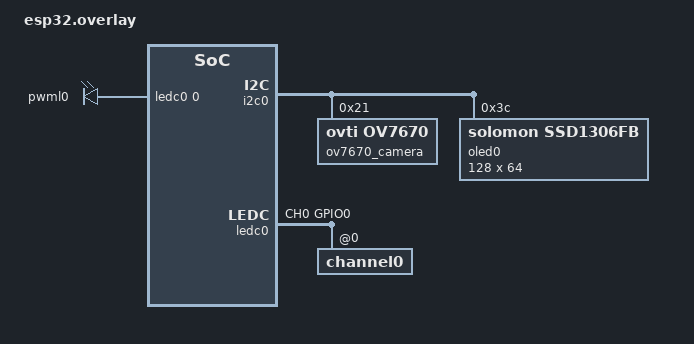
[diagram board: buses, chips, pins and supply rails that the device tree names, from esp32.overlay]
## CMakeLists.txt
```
cmake_minimum_required(VERSION 3.20.0)
set(DTC_OVERLAY_FILE "esp32.overlay")
set(BOARD esp32_devkitc_wroom)
find_package(Zephyr REQUIRED HINTS $ENV{ZEPHYR_BASE})

project(test03)

target_sources(app PRIVATE src/main.c)
```

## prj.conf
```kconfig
CONFIG_LOG=y
CONFIG_VIDEO=y
CONFIG_VIDEO_OV7670=y
CONFIG_SHELL=y
CONFIG_I2C_SHELL=y
CONFIG_I2C=y
CONFIG_GPIO=y
CONFIG_PWM=y
CONFIG_DISPLAY=y
CONFIG_SSD1306=y
CONFIG_SSD1306_DEFAULT_CONTRAST=128
CONFIG_CHARACTER_FRAMEBUFFER=y
```

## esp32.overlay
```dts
&i2c0 {
    ov7670_camera: ov7670_camera@21 {
        compatible= "ovti,ov7670";
        status = "okay";
        reg=<0x21>;
    };  
        oled0: oled0@3c {
        compatible= "solomon,ssd1306fb";
        reg =<0x3c>;
        height=<64>;
        width=<128>;
        segment-offset=<0>;
        page-offset=<0>;
        display-offset=<0>;
        multiplex-ratio=<63>;
        segment-remap;
        com-invdir;
        prechargep= <0x22>;
    };     
};
    &pinctrl {
        pwmc_default: pwmc_default {
                group1 {
                    pinmux = <LEDC_CH0_GPIO0>;
                    output-enable;
                };
        };
    };
    &ledc0 {
        pinctrl-0 = <&pwmc_default>;
        pinctrl-names = "default";
        #address-cells = <1>;
        #size-cells = <0>;
        status = "okay";
        channel0@0 {
            reg = <0x0>;
            timer = <0>;
        };
    };
/
{
    pwmled {
        compatible = "pwm-leds";     
        pwml0: pwml_0 {
            pwms=<&ledc0 0 100 PWM_POLARITY_NORMAL>;
        };
    };
};
```

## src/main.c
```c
#include <zephyr/kernel.h>
#include <zephyr/drivers/gpio.h>
#include <zephyr/drivers/pwm.h>
#include <zephyr/drivers/video.h>
#include <zephyr/logging/log.h>
#include <zephyr/display/cfb.h>


LOG_MODULE_REGISTER(camera);

static const struct device *camera =
     DEVICE_DT_GET(DT_NODELABEL(ov7670_camera)); 

static const struct device *display =
    DEVICE_DT_GET(DT_NODELABEL(oled0));      

static const struct pwm_dt_spec pwml0 = 
    PWM_DT_SPEC_GET(DT_NODELABEL(pwml0));

void main(void)
{
    int ret;
//         const struct device *dev;
// dev = device_get_binding("ov7670_camera");
    ret = pwm_set_pulse_dt(&pwml0,40);
        if(!device_is_ready(pwml0.dev))
    {
        return;
    }
    if(display == NULL)
    {
        LOG_ERR("device pointer is null");
        return;
    }
    if(!device_is_ready(display))
    {
        LOG_ERR("display note connected");
        return;
    }
    ret=cfb_framebuffer_init(display);
    if(ret!=0)
    {
        LOG_ERR("could not initialize display");
        return;
    }
    ret=cfb_print(display,"Hello world",0,0);
    if(ret!=0)
    {
        LOG_ERR("can't print on oled");
        return;
    }
    ret =cfb_framebuffer_finalize(display);
    if(ret!=0)
    {
        LOG_ERR("could not finalize display");
        return;
    }    
if (camera == NULL) {
    printk("Error: Could not get ov7670 device binding\n");
}
    if(camera == NULL)
    {
        LOG_ERR("pointer NULL");
        return;
    }
     if(!device_is_ready(camera))
     {
        LOG_ERR("camera not connected");
         return;
    }
    while(true)
    {
    }
}
```
